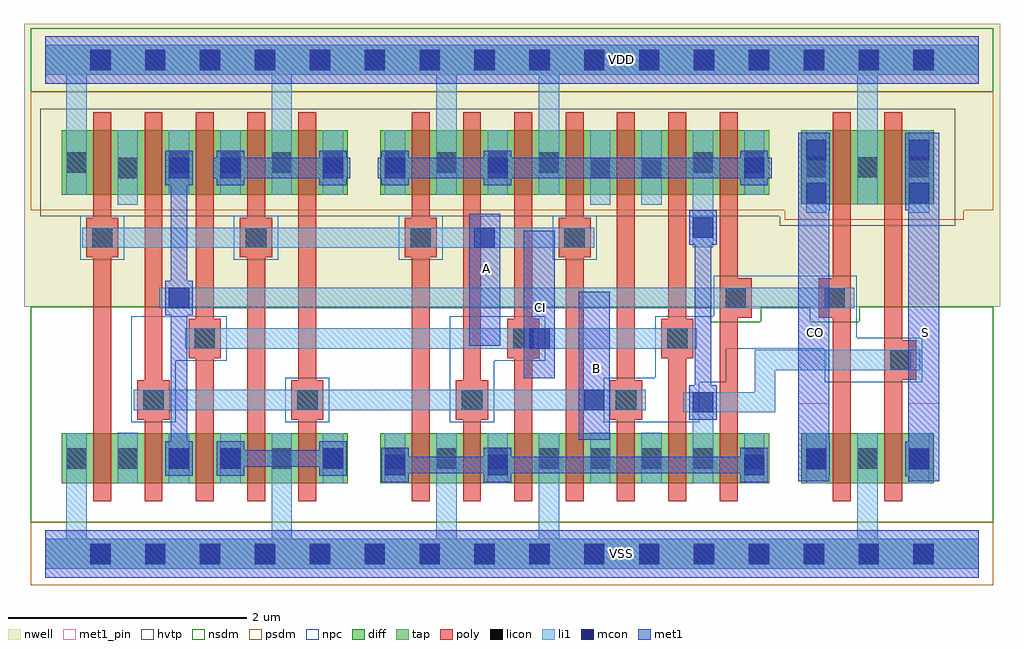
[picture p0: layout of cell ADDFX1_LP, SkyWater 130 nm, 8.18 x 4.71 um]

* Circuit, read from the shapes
.subckt ADDFX1_LP A B CI CO S VDD VSS
XM1 n1 A VSS VSS sky130_fd_pr__nfet_01v8 w=0.42 l=0.15
XM2 n2 B n1 VSS sky130_fd_pr__nfet_01v8 w=0.42 l=0.15
XM3 n3 CI n2 VSS sky130_fd_pr__nfet_01v8 w=0.42 l=0.15
XM4 VSS A n3 VSS sky130_fd_pr__nfet_01v8 w=0.42 l=0.15
XM5 n3 B VSS VSS sky130_fd_pr__nfet_01v8 w=0.42 l=0.15
XM6 VSS A n4 VSS sky130_fd_pr__nfet_01v8 w=0.42 l=0.15
XM7 n4 B VSS VSS sky130_fd_pr__nfet_01v8 w=0.42 l=0.15
XM8 VSS CI n4 VSS sky130_fd_pr__nfet_01v8 w=0.42 l=0.15
XM9 n5 A VSS VSS sky130_fd_pr__nfet_01v8 w=0.42 l=0.15
XM10 n6 B n5 VSS sky130_fd_pr__nfet_01v8 w=0.42 l=0.15
XM11 n7 CI n6 VSS sky130_fd_pr__nfet_01v8 w=0.42 l=0.15
XM12 n4 n2 n7 VSS sky130_fd_pr__nfet_01v8 w=0.42 l=0.15
XM13 VSS n2 CO VSS sky130_fd_pr__nfet_01v8 w=0.42 l=0.15
XM14 S n7 VSS VSS sky130_fd_pr__nfet_01v8 w=0.42 l=0.15
XM15 n8 A VDD VDD sky130_fd_pr__pfet_01v8_hvt w=0.54 l=0.15
XM16 n2 B n8 VDD sky130_fd_pr__pfet_01v8_hvt w=0.54 l=0.15
XM17 n9 CI n2 VDD sky130_fd_pr__pfet_01v8_hvt w=0.54 l=0.15
XM18 VDD A n9 VDD sky130_fd_pr__pfet_01v8_hvt w=0.54 l=0.15
XM19 n9 B VDD VDD sky130_fd_pr__pfet_01v8_hvt w=0.54 l=0.15
XM20 VDD A n10 VDD sky130_fd_pr__pfet_01v8_hvt w=0.54 l=0.15
XM21 n10 B VDD VDD sky130_fd_pr__pfet_01v8_hvt w=0.54 l=0.15
XM22 VDD CI n10 VDD sky130_fd_pr__pfet_01v8_hvt w=0.54 l=0.15
XM23 n11 A VDD VDD sky130_fd_pr__pfet_01v8_hvt w=0.54 l=0.15
XM24 n12 B n11 VDD sky130_fd_pr__pfet_01v8_hvt w=0.54 l=0.15
XM25 n7 CI n12 VDD sky130_fd_pr__pfet_01v8_hvt w=0.54 l=0.15
XM26 n10 n2 n7 VDD sky130_fd_pr__pfet_01v8_hvt w=0.54 l=0.15
XM27 VDD n2 CO VDD sky130_fd_pr__pfet_01v8_hvt w=0.62 l=0.15
XM28 S n7 VDD VDD sky130_fd_pr__pfet_01v8_hvt w=0.62 l=0.15
.ends

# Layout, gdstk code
import gdstk
lib = gdstk.Library(unit=1e-6, precision=1e-09)
def R(c, l, rs):  # rectangles x0, y0, x1, y1
    for r in rs: c.add(gdstk.rectangle(r[:2], r[2:], *l))
def A(c, l, x, y, w, h, nx, ny, dx, dy):  # array of equal rectangles
    R(c, l, [(x+i*dx, y+j*dy, x+i*dx+w, y+j*dy+h) for i in range(nx) for j in range(ny)])
def P(c, l, *ps):  # polygons
    for p in ps: c.add(gdstk.Polygon(p, *l))
nwell = (64, 20)
diff = (65, 20)
tap = (65, 44)
poly = (66, 20)
licon = (66, 44)
li1 = (67, 20)
mcon = (67, 44)
met1_pin = (68, 16)
met1 = (68, 20)
hvtp = (78, 44)
nsdm = (93, 44)
psdm = (94, 20)
npc = (95, 20)

l1m1_c_cdns_750721840970 = lib.new_cell('L1M1_C_CDNS_750721840970')
R(l1m1_c_cdns_750721840970, li1, [(-0.085,-0.145,0.085,0.165)])
R(l1m1_c_cdns_750721840970, mcon, [(-0.085,-0.085,0.085,0.085)])
R(l1m1_c_cdns_750721840970, met1, [(-0.115,-0.145,0.115,0.145)])

l1m1_c_cdns_750721840971 = lib.new_cell('L1M1_C_CDNS_750721840971')
R(l1m1_c_cdns_750721840971, li1, [(-0.085,-0.165,0.085,0.165)])
R(l1m1_c_cdns_750721840971, mcon, [(-0.085,-0.085,0.085,0.085)])
R(l1m1_c_cdns_750721840971, met1, [(-0.115,-0.145,0.115,0.145)])

pyl1con_c_cdns_750721840 = lib.new_cell('PYL1CON_C_CDNS_750721840972')
R(pyl1con_c_cdns_750721840, poly, [(-0.135,-0.165,0.135,0.165)])
R(pyl1con_c_cdns_750721840, licon, [(-0.085,-0.085,0.085,0.085)])
R(pyl1con_c_cdns_750721840, npc, [(-0.185,-0.185,0.185,0.185)])

l1m1_c_cdns_750721840973 = lib.new_cell('L1M1_C_CDNS_750721840973')
R(l1m1_c_cdns_750721840973, li1, [(-0.165,-0.085,0.165,0.085)])
R(l1m1_c_cdns_750721840973, mcon, [(-0.085,-0.085,0.085,0.085)])
R(l1m1_c_cdns_750721840973, met1, [(-0.115,-0.145,0.115,0.145)])

licondiff_c_cdns_7507218 = lib.new_cell('LICONDIFF_C_CDNS_750721840974')
R(licondiff_c_cdns_7507218, diff, [(-0.125,-0.145,0.125,0.145)])
R(licondiff_c_cdns_7507218, licon, [(-0.085,-0.085,0.085,0.085), (-0.085,-0.085,0.085,0.085)])

l1m1_c_cdns_750721840975 = lib.new_cell('L1M1_C_CDNS_750721840975')
R(l1m1_c_cdns_750721840975, li1, [(-0.085,-0.345,0.085,0.345)])
R(l1m1_c_cdns_750721840975, mcon, [(-0.085,-0.265,0.085,-0.095), (-0.085,0.095,0.085,0.265)])
R(l1m1_c_cdns_750721840975, met1, [(-0.115,-0.325,0.115,0.325)])

addfx1_lp = lib.new_cell('ADDFX1_LP')
A(addfx1_lp, nwell, 0.595, 2.83, 0.79, 0.9, 3, 1, 0.43, 0)
A(addfx1_lp, nwell, 3.265, 2.83, 0.79, 0.9, 5, 1, 0.43, 0)
R(addfx1_lp, nwell, [(-0.18,2.07,8,4.305), (6.155,2.75,7.155,3.73), (6.795,2.75,7.625,3.73), (-0.045,2.83,0.955,3.73), (1.885,2.83,2.715,3.73), (2.625,2.83,3.625,3.73), (5.415,2.83,6.245,3.73), (-0.18,3.875,8,4.445)])
A(addfx1_lp, diff, 0.4, 0.59, 0.15, 0.42, 5, 1, 0.43, 0)
A(addfx1_lp, diff, 3.07, 0.59, 0.15, 0.42, 7, 1, 0.43, 0)
A(addfx1_lp, diff, 0.4, 3.01, 0.15, 0.54, 5, 1, 0.43, 0)
A(addfx1_lp, diff, 0.55, 3.01, 0.225, 0.54, 4, 1, 0.43, 0)
A(addfx1_lp, diff, 0.775, 3.01, 0.055, 0.54, 4, 1, 0.43, 0)
A(addfx1_lp, diff, 3.07, 3.01, 0.15, 0.54, 7, 1, 0.43, 0)
A(addfx1_lp, diff, 3.22, 3.01, 0.225, 0.54, 6, 1, 0.43, 0)
A(addfx1_lp, diff, 3.445, 3.01, 0.055, 0.54, 6, 1, 0.43, 0)
R(addfx1_lp, diff, [(0.135,0.59,0.4,1.01), (0.55,0.59,0.775,1.01), (0.775,0.59,0.83,1.01), (0.98,0.59,1.035,1.01), (1.035,0.59,1.26,1.01), (1.41,0.59,1.635,1.01), (1.635,0.59,1.69,1.01), (1.84,0.59,2.065,1.01), (2.065,0.59,2.12,1.01), (2.27,0.59,2.535,1.01), (2.805,0.59,3.07,1.01), (3.22,0.59,3.445,1.01), (3.445,0.59,3.5,1.01), (3.65,0.59,3.705,1.01), (3.705,0.59,3.93,1.01), (4.08,0.59,4.305,1.01), (4.305,0.59,4.36,1.01), (4.51,0.59,4.565,1.01), (4.565,0.59,4.79,1.01), (4.94,0.59,5.165,1.01), (5.165,0.59,5.22,1.01), (5.37,0.59,5.595,1.01), (5.595,0.59,5.65,1.01), (5.8,0.59,6.065,1.01), (6.335,0.59,6.6,1.01), (6.6,0.59,6.75,1.01), (6.75,0.59,6.975,1.01), (6.975,0.59,7.03,1.01), (7.03,0.59,7.18,1.01), (7.18,0.59,7.445,1.01), (6.335,2.93,6.6,3.55), (6.6,2.93,6.75,3.55), (6.75,2.93,6.975,3.55), (6.975,2.93,7.03,3.55), (7.03,2.93,7.18,3.55), (7.18,2.93,7.445,3.55), (0.135,3.01,0.4,3.55), (2.27,3.01,2.535,3.55), (2.805,3.01,3.07,3.55), (5.8,3.01,6.065,3.55)])
A(addfx1_lp, poly, 0.4, 0.44, 0.15, 0.055, 5, 2, 0.43, 0.665)
A(addfx1_lp, poly, 3.07, 0.44, 0.15, 0.055, 7, 2, 0.43, 0.665)
A(addfx1_lp, poly, 0.4, 0.495, 0.15, 0.095, 5, 2, 0.43, 0.515)
A(addfx1_lp, poly, 3.07, 0.495, 0.15, 0.095, 7, 2, 0.43, 0.515)
A(addfx1_lp, poly, 0.4, 0.59, 0.15, 0.42, 5, 1, 0.43, 0)
A(addfx1_lp, poly, 3.07, 0.59, 0.15, 0.42, 7, 1, 0.43, 0)
A(addfx1_lp, poly, 0.4, 2.86, 0.15, 0.055, 5, 2, 0.43, 0.785)
A(addfx1_lp, poly, 3.07, 2.86, 0.15, 0.055, 7, 2, 0.43, 0.785)
A(addfx1_lp, poly, 0.4, 2.915, 0.15, 0.095, 5, 2, 0.43, 0.635)
A(addfx1_lp, poly, 3.07, 2.915, 0.15, 0.095, 7, 2, 0.43, 0.635)
A(addfx1_lp, poly, 0.4, 3.01, 0.15, 0.54, 5, 1, 0.43, 0)
A(addfx1_lp, poly, 3.07, 3.01, 0.15, 0.54, 7, 1, 0.43, 0)
R(addfx1_lp, poly, [(6.6,0.44,6.75,0.495), (7.03,0.44,7.18,0.495), (6.6,0.495,6.75,0.59), (7.03,0.495,7.18,0.59), (6.6,0.59,6.75,1.01), (7.03,0.59,7.18,1.01), (6.6,1.01,6.75,1.105), (7.03,1.01,7.18,1.105), (6.6,1.105,6.75,1.16), (7.03,1.105,7.18,1.16), (6.6,2.78,6.75,2.835), (7.03,2.78,7.18,2.835), (6.6,2.835,6.75,2.93), (7.03,2.835,7.18,2.93), (6.6,2.93,6.75,3.55), (7.03,2.93,7.18,3.55), (6.6,3.55,6.75,3.645), (7.03,3.55,7.18,3.645), (6.6,3.645,6.75,3.7), (7.03,3.645,7.18,3.7)])
A(addfx1_lp, licon, 0.375, -0.085, 0.17, 0.17, 16, 2, 0.46, 4.14)
A(addfx1_lp, licon, 1.035, 0.715, 0.17, 0.17, 4, 2, 0.43, 2.48)
A(addfx1_lp, licon, 2.845, 0.715, 0.17, 0.17, 4, 2, 0.43, 2.48)
A(addfx1_lp, licon, 6.375, 0.715, 0.17, 0.17, 3, 2, 0.43, 2.44)
R(addfx1_lp, licon, [(0.175,0.715,0.345,0.885), (5.425,0.715,5.595,0.885), (5.855,0.715,6.025,0.885), (0.175,3.195,0.345,3.365), (5.425,3.195,5.595,3.365), (5.855,3.195,6.025,3.365)])
A(addfx1_lp, li1, 1.035, 0.59, 0.17, 0.42, 4, 1, 0.43, 0)
A(addfx1_lp, li1, 2.845, 0.59, 0.17, 0.42, 4, 1, 0.43, 0)
A(addfx1_lp, li1, 6.375, 0.59, 0.17, 0.42, 3, 1, 0.43, 0)
A(addfx1_lp, li1, 6.375, 2.93, 0.17, 0.62, 3, 1, 0.43, 0)
A(addfx1_lp, li1, 1.035, 3.01, 0.17, 0.54, 4, 1, 0.43, 0)
A(addfx1_lp, li1, 2.845, 3.01, 0.17, 0.54, 4, 1, 0.43, 0)
R(addfx1_lp, li1, [(0.175,0.59,0.345,1.01), (5.425,0.59,5.595,1.01), (5.855,0.59,6.025,1.01), (0.175,3.01,0.345,3.55), (5.425,3.01,5.595,3.55), (5.855,3.01,6.025,3.55)])
A(addfx1_lp, mcon, 0.375, -0.085, 0.17, 0.17, 16, 2, 0.46, 4.14)
R(addfx1_lp, met1_pin, [(4.47,0.955,4.73,2.195), (6.31,1.26,6.57,3.53), (7.23,1.26,7.49,3.53), (4.01,1.47,4.27,2.71), (3.55,1.745,3.81,2.85)])
A(addfx1_lp, hvtp, 0.595, 2.83, 0.79, 0.9, 3, 1, 0.43, 0)
A(addfx1_lp, hvtp, 3.265, 2.83, 0.79, 0.9, 5, 1, 0.43, 0)
R(addfx1_lp, hvtp, [(6.155,2.75,7.155,3.73), (6.795,2.75,7.625,3.73), (-0.045,2.83,0.955,3.73), (1.885,2.83,2.715,3.73), (2.625,2.83,3.625,3.73), (5.415,2.83,6.245,3.73)])
R(addfx1_lp, nsdm, [(-0.005,0.46,0.785,1.14), (0.765,0.46,1.045,1.14), (1.025,0.46,1.645,1.14), (1.625,0.46,2.075,1.14), (2.055,0.46,2.675,1.14), (2.665,0.46,3.455,1.14), (3.435,0.46,3.715,1.14), (3.695,0.46,4.315,1.14), (4.295,0.46,4.575,1.14), (4.555,0.46,5.175,1.14), (5.155,0.46,5.605,1.14), (5.585,0.46,6.205,1.14), (6.195,0.46,6.985,1.14), (6.965,0.46,7.585,1.14), (-0.125,3.875,7.945,4.405), (-0.125,3.93,7.945,4.35)])
P(addfx1_lp, nsdm, [(7.945,2.07),(6.82,2.07),(6.82,1.945),(6.41,1.945),(6.41,2.07),(5.995,2.07),(5.995,1.945),(5.575,1.945),(5.575,2.07),(-0.125,2.07),(-0.125,0.265),(7.945,0.265)])
A(addfx1_lp, psdm, 0.765, 2.88, 0.45, 0.8, 3, 1, 0.43, 0)
A(addfx1_lp, psdm, 3.435, 2.88, 0.45, 0.8, 5, 1, 0.43, 0)
R(addfx1_lp, psdm, [(-0.125,-0.265,7.945,0.265), (-0.125,-0.21,7.945,0.21), (6.195,2.8,6.985,3.68), (6.965,2.8,7.695,3.68), (-0.125,2.88,7.945,3.875), (-0.005,2.88,0.785,3.68), (2.055,2.88,2.675,3.68), (2.665,2.88,3.455,3.68), (5.585,2.88,6.205,3.68)])
P(addfx1_lp, npc, [(4.19,1.99),(3.39,1.99),(3.39,1.105),(3.76,1.105),(3.76,1.62),(4.19,1.62)],
  [(7.35,1.81),(6.8,1.81),(6.8,2.33),(5.6,2.33),(5.6,1.99),(5.11,1.99),(5.11,1.475),(4.68,1.475),(4.68,1.105),(5.48,1.105),(5.48,1.44),(5.705,1.44),(5.705,1.72),(6.53,1.72),(6.53,1.44),(7.35,1.44)],
  [(1.52,1.99),(0.72,1.99),(0.72,1.105),(1.09,1.105),(1.09,1.62),(1.52,1.62)])
addfx1_lp.add(gdstk.FlexPath([(7.105,2.78),(7.105,1.16)], 0.15, ends="flush", simple_path=True, layer=66, datatype=20))  # poly
addfx1_lp.add(gdstk.FlexPath([(6.675,2.78),(6.675,1.16)], 0.15, ends="flush", simple_path=True, layer=66, datatype=20))  # poly
addfx1_lp.add(gdstk.FlexPath([(5.725,2.86),(5.725,1.16)], 0.15, ends="flush", simple_path=True, layer=66, datatype=20))  # poly
addfx1_lp.add(gdstk.FlexPath([(5.295,2.86),(5.295,1.16)], 0.15, ends="flush", simple_path=True, layer=66, datatype=20))  # poly
addfx1_lp.add(gdstk.FlexPath([(4.865,2.86),(4.865,1.165)], 0.15, ends="flush", simple_path=True, layer=66, datatype=20))  # poly
addfx1_lp.add(gdstk.FlexPath([(4.435,1.16),(4.435,2.86)], 0.15, ends="flush", simple_path=True, layer=66, datatype=20))  # poly
addfx1_lp.add(gdstk.FlexPath([(4.005,2.86),(4.005,1.16)], 0.15, ends="flush", simple_path=True, layer=66, datatype=20))  # poly
addfx1_lp.add(gdstk.FlexPath([(3.575,2.86),(3.575,1.165)], 0.15, ends="flush", simple_path=True, layer=66, datatype=20))  # poly
addfx1_lp.add(gdstk.FlexPath([(3.145,2.86),(3.145,1.16)], 0.15, ends="flush", simple_path=True, layer=66, datatype=20))  # poly
addfx1_lp.add(gdstk.FlexPath([(2.195,2.86),(2.195,1.165)], 0.15, ends="flush", simple_path=True, layer=66, datatype=20))  # poly
addfx1_lp.add(gdstk.FlexPath([(1.765,2.86),(1.765,1.16)], 0.15, ends="flush", simple_path=True, layer=66, datatype=20))  # poly
addfx1_lp.add(gdstk.FlexPath([(1.335,2.86),(1.335,1.16)], 0.15, ends="flush", simple_path=True, layer=66, datatype=20))  # poly
addfx1_lp.add(gdstk.FlexPath([(0.905,2.86),(0.905,1.165)], 0.15, ends="flush", simple_path=True, layer=66, datatype=20))  # poly
addfx1_lp.add(gdstk.FlexPath([(0.475,1.16),(0.475,2.86)], 0.15, ends="flush", simple_path=True, layer=66, datatype=20))  # poly
addfx1_lp.add(gdstk.FlexPath([(4.22,0),(6.89,0)], 0.25, ends=(0.085, 0.085), simple_path=True, layer=67, datatype=20))  # li1
addfx1_lp.add(gdstk.FlexPath([(6.89,0.59),(6.89,0)], 0.17, ends=(0, 0.125), simple_path=True, layer=67, datatype=20))  # li1
addfx1_lp.add(gdstk.FlexPath([(3.36,0),(4.22,0)], 0.25, ends=(0.085, 0.085), simple_path=True, layer=67, datatype=20))  # li1
addfx1_lp.add(gdstk.FlexPath([(4.22,0.59),(4.22,0)], 0.17, ends=(0, 0.125), simple_path=True, layer=67, datatype=20))  # li1
addfx1_lp.add(gdstk.FlexPath([(6.89,0),(7.82,0)], 0.25, ends=(0.085, 0), simple_path=True, layer=67, datatype=20))  # li1
addfx1_lp.add(gdstk.FlexPath([(0,4.14),(7.82,4.14)], 0.25, ends="flush", simple_path=True, layer=67, datatype=20))  # li1
addfx1_lp.add(gdstk.FlexPath([(5.08,0.59),(5.08,1.015)], 0.17, ends="flush", simple_path=True, layer=67, datatype=20))  # li1
addfx1_lp.add(gdstk.FlexPath([(4.65,0.59),(4.65,1.015)], 0.17, ends="flush", simple_path=True, layer=67, datatype=20))  # li1
addfx1_lp.add(gdstk.FlexPath([(0.69,0.59),(0.69,1.015)], 0.17, ends="flush", simple_path=True, layer=67, datatype=20))  # li1
addfx1_lp.add(gdstk.FlexPath([(5.08,2.925),(5.08,3.55)], 0.17, ends="flush", simple_path=True, layer=67, datatype=20))  # li1
addfx1_lp.add(gdstk.FlexPath([(4.65,2.925),(4.65,3.55)], 0.17, ends="flush", simple_path=True, layer=67, datatype=20))  # li1
addfx1_lp.add(gdstk.FlexPath([(0.69,2.925),(0.69,3.55)], 0.17, ends="flush", simple_path=True, layer=67, datatype=20))  # li1
addfx1_lp.add(gdstk.FlexPath([(0.31,2.65),(4.6,2.65)], 0.17, ends="flush", simple_path=True, layer=67, datatype=20))  # li1
addfx1_lp.add(gdstk.FlexPath([(5.03,1.29),(0.74,1.29)], 0.17, ends="flush", simple_path=True, layer=67, datatype=20))  # li1
addfx1_lp.add(gdstk.FlexPath([(1.17,1.805),(5.46,1.805)], 0.17, ends="flush", simple_path=True, layer=67, datatype=20))  # li1
addfx1_lp.add(gdstk.FlexPath([(5.51,1.015),(5.51,1.01)], 0.17, ends="flush", simple_path=True, layer=67, datatype=20))  # li1
addfx1_lp.add(gdstk.FlexPath([(7.33,1.625),(6.03,1.625),(6.03,1.27),(5.51,1.27),(5.51,1.015)], 0.17, ends="flush", simple_path=True, layer=67, datatype=20))  # li1
addfx1_lp.add(gdstk.FlexPath([(6.78,2.145),(1.12,2.145)], 0.17, ends="flush", simple_path=True, layer=67, datatype=20))  # li1
addfx1_lp.add(gdstk.FlexPath([(5.51,2.735),(5.51,3.01)], 0.17, ends="flush", simple_path=True, layer=67, datatype=20))  # li1
addfx1_lp.add(gdstk.FlexPath([(0.26,3.55),(0.26,4.135)], 0.17, ends="flush", simple_path=True, layer=67, datatype=20))  # li1
addfx1_lp.add(gdstk.FlexPath([(1.98,3.55),(1.98,4.135)], 0.17, ends="flush", simple_path=True, layer=67, datatype=20))  # li1
addfx1_lp.add(gdstk.FlexPath([(3.36,3.55),(3.36,4.13)], 0.17, ends="flush", simple_path=True, layer=67, datatype=20))  # li1
addfx1_lp.add(gdstk.FlexPath([(4.22,3.55),(4.22,4.135)], 0.17, ends="flush", simple_path=True, layer=67, datatype=20))  # li1
addfx1_lp.add(gdstk.FlexPath([(6.89,3.55),(6.89,4.13)], 0.17, ends="flush", simple_path=True, layer=67, datatype=20))  # li1
addfx1_lp.add(gdstk.FlexPath([(3.36,0.59),(3.36,0)], 0.17, ends=(0, 0.125), simple_path=True, layer=67, datatype=20))  # li1
addfx1_lp.add(gdstk.FlexPath([(0.26,0),(1.98,0)], 0.25, ends=(0.085, 0.085), simple_path=True, layer=67, datatype=20))  # li1
addfx1_lp.add(gdstk.FlexPath([(1.98,0.59),(1.98,0)], 0.17, ends=(0, 0.125), simple_path=True, layer=67, datatype=20))  # li1
addfx1_lp.add(gdstk.FlexPath([(0,0),(0.26,0)], 0.25, ends=(0, 0.085), simple_path=True, layer=67, datatype=20))  # li1
addfx1_lp.add(gdstk.FlexPath([(0.26,0.59),(0.26,0)], 0.17, ends=(0, 0.125), simple_path=True, layer=67, datatype=20))  # li1
addfx1_lp.add(gdstk.FlexPath([(1.98,0),(3.36,0)], 0.25, ends=(0.085, 0.085), simple_path=True, layer=67, datatype=20))  # li1
addfx1_lp.add(gdstk.FlexPath([(0,0),(7.82,0)], 0.4, ends="flush", simple_path=True, layer=68, datatype=20))  # met1
addfx1_lp.add(gdstk.FlexPath([(0,4.14),(7.82,4.14)], 0.4, ends="flush", simple_path=True, layer=68, datatype=20))  # met1
addfx1_lp.add(gdstk.FlexPath([(3.68,2.85),(3.68,1.745)], 0.26, ends="flush", simple_path=True, layer=68, datatype=20))  # met1
addfx1_lp.add(gdstk.FlexPath([(4.14,1.47),(4.14,2.71)], 0.26, ends="flush", simple_path=True, layer=68, datatype=20))  # met1
addfx1_lp.add(gdstk.FlexPath([(6.44,0.61),(6.44,3.53)], 0.26, ends="flush", simple_path=True, layer=68, datatype=20))  # met1
addfx1_lp.add(gdstk.FlexPath([(5.51,1.205),(5.51,2.735)], 0.14, ends="flush", simple_path=True, layer=68, datatype=20))  # met1
addfx1_lp.add(gdstk.FlexPath([(1.12,0.8),(1.12,3.235)], 0.14, ends=(0, 0.085), simple_path=True, layer=68, datatype=20))  # met1
addfx1_lp.add(gdstk.FlexPath([(5.94,0.745),(2.93,0.745)], 0.14, ends="flush", simple_path=True, layer=68, datatype=20))  # met1
addfx1_lp.add(gdstk.FlexPath([(2.41,0.8),(1.55,0.8)], 0.14, ends="flush", simple_path=True, layer=68, datatype=20))  # met1
addfx1_lp.add(gdstk.FlexPath([(6.085,3.235),(2.785,3.235)], 0.17, ends="flush", simple_path=True, layer=68, datatype=20))  # met1
addfx1_lp.add(gdstk.FlexPath([(1.405,3.235),(2.555,3.235)], 0.17, ends="flush", simple_path=True, layer=68, datatype=20))  # met1
addfx1_lp.add(gdstk.FlexPath([(7.36,0.61),(7.36,3.53)], 0.26, ends="flush", simple_path=True, layer=68, datatype=20))  # met1
addfx1_lp.add(gdstk.FlexPath([(4.6,0.955),(4.6,2.195)], 0.26, ends="flush", simple_path=True, layer=68, datatype=20))  # met1
addfx1_lp.add(gdstk.FlexPath([(0,4.14),(7.82,4.14)], 0.4, ends="flush", simple_path=True, layer=68, datatype=16))  # met1_pin
addfx1_lp.add(gdstk.FlexPath([(0,0),(7.82,0)], 0.4, ends="flush", simple_path=True, layer=68, datatype=16))  # met1_pin
addfx1_lp.add(gdstk.FlexPath([(0,0),(7.82,0)], 0.25, ends="flush", simple_path=True, layer=65, datatype=44))  # tap
addfx1_lp.add(gdstk.FlexPath([(0,4.14),(7.82,4.14)], 0.25, ends="flush", simple_path=True, layer=65, datatype=44))  # tap
addfx1_lp.add(gdstk.Reference(l1m1_c_cdns_750721840970, (5.94,0.745)))
addfx1_lp.add(gdstk.Reference(l1m1_c_cdns_750721840970, (3.79,0.745)))
addfx1_lp.add(gdstk.Reference(l1m1_c_cdns_750721840970, (2.93,0.745)))
addfx1_lp.add(gdstk.Reference(l1m1_c_cdns_750721840971, (5.51,2.735)))
addfx1_lp.add(gdstk.Reference(l1m1_c_cdns_750721840971, (1.12,3.235)))
addfx1_lp.add(gdstk.Reference(l1m1_c_cdns_750721840971, (3.79,3.235)))
addfx1_lp.add(gdstk.Reference(l1m1_c_cdns_750721840971, (2.93,3.235)))
addfx1_lp.add(gdstk.Reference(l1m1_c_cdns_750721840971, (2.41,3.235)))
addfx1_lp.add(gdstk.Reference(l1m1_c_cdns_750721840971, (1.55,3.235)))
addfx1_lp.add(gdstk.Reference(l1m1_c_cdns_750721840971, (1.12,0.8)))
addfx1_lp.add(gdstk.Reference(l1m1_c_cdns_750721840971, (2.41,0.8)))
addfx1_lp.add(gdstk.Reference(l1m1_c_cdns_750721840971, (1.55,0.8)))
addfx1_lp.add(gdstk.Reference(l1m1_c_cdns_750721840971, (5.94,3.235)))
addfx1_lp.add(gdstk.Reference(l1m1_c_cdns_750721840971, (6.46,0.795)))
addfx1_lp.add(gdstk.Reference(l1m1_c_cdns_750721840971, (7.32,0.795)))
addfx1_lp.add(gdstk.Reference(pyl1con_c_cdns_750721840, (4.865,1.29), x_reflection=True))
addfx1_lp.add(gdstk.Reference(pyl1con_c_cdns_750721840, (3.575,1.29), x_reflection=True))
addfx1_lp.add(gdstk.Reference(pyl1con_c_cdns_750721840, (2.195,1.29), x_reflection=True))
addfx1_lp.add(gdstk.Reference(pyl1con_c_cdns_750721840, (0.905,1.29), x_reflection=True))
addfx1_lp.add(gdstk.Reference(pyl1con_c_cdns_750721840, (4.435,2.65), x_reflection=True))
addfx1_lp.add(gdstk.Reference(pyl1con_c_cdns_750721840, (3.145,2.65), x_reflection=True))
addfx1_lp.add(gdstk.Reference(pyl1con_c_cdns_750721840, (0.475,2.65), x_reflection=True))
addfx1_lp.add(gdstk.Reference(pyl1con_c_cdns_750721840, (1.765,2.65), x_reflection=True))
addfx1_lp.add(gdstk.Reference(pyl1con_c_cdns_750721840, (5.785,2.145), x_reflection=True))
addfx1_lp.add(gdstk.Reference(pyl1con_c_cdns_750721840, (4.005,1.805), x_reflection=True))
addfx1_lp.add(gdstk.Reference(pyl1con_c_cdns_750721840, (1.335,1.805), x_reflection=True))
addfx1_lp.add(gdstk.Reference(pyl1con_c_cdns_750721840, (6.615,2.145), x_reflection=True))
addfx1_lp.add(gdstk.Reference(pyl1con_c_cdns_750721840, (5.295,1.805), x_reflection=True))
addfx1_lp.add(gdstk.Reference(pyl1con_c_cdns_750721840, (7.165,1.625), x_reflection=True))
addfx1_lp.add(gdstk.Reference(l1m1_c_cdns_750721840973, (4.14,1.805), x_reflection=True))
addfx1_lp.add(gdstk.Reference(l1m1_c_cdns_750721840973, (1.12,2.145)))
addfx1_lp.add(gdstk.Reference(l1m1_c_cdns_750721840973, (5.51,1.27), x_reflection=True))
addfx1_lp.add(gdstk.Reference(l1m1_c_cdns_750721840973, (3.68,2.65)))
addfx1_lp.add(gdstk.Reference(l1m1_c_cdns_750721840973, (4.6,1.29), x_reflection=True))
addfx1_lp.add(gdstk.Reference(licondiff_c_cdns_7507218, (5.08,0.8)))
addfx1_lp.add(gdstk.Reference(licondiff_c_cdns_7507218, (4.65,0.8)))
addfx1_lp.add(gdstk.Reference(licondiff_c_cdns_7507218, (0.69,3.235)))
addfx1_lp.add(gdstk.Reference(licondiff_c_cdns_7507218, (0.69,0.8)))
addfx1_lp.add(gdstk.Reference(licondiff_c_cdns_7507218, (4.65,3.235)))
addfx1_lp.add(gdstk.Reference(licondiff_c_cdns_7507218, (5.08,3.235)))
addfx1_lp.add(gdstk.Reference(l1m1_c_cdns_750721840975, (6.46,3.205)))
addfx1_lp.add(gdstk.Reference(l1m1_c_cdns_750721840975, (7.32,3.205)))
addfx1_lp.add(gdstk.Label('VDD', (4.825,4.145), layer=68, texttype=5))
addfx1_lp.add(gdstk.Label('A', (3.695,2.395), layer=68, texttype=5))
addfx1_lp.add(gdstk.Label('B', (4.615,1.55), layer=68, texttype=5))
addfx1_lp.add(gdstk.Label('CI', (4.145,2.065), layer=68, texttype=5))
addfx1_lp.add(gdstk.Label('CO', (6.455,1.855), layer=68, texttype=5))
addfx1_lp.add(gdstk.Label('S', (7.375,1.855), layer=68, texttype=5))
addfx1_lp.add(gdstk.Label('VSS', (4.825,0.005), layer=68, texttype=5))

lib.write_gds('ADDFX1_LP.gds')
